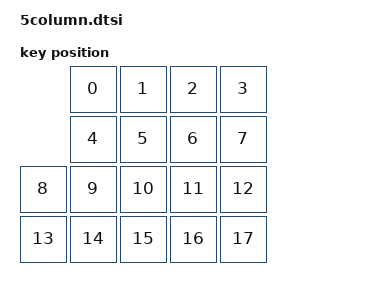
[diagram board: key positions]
#include <layouts/dumbpad/position_map.dtsi>
#include <physical_layouts.dtsi>

/ {
    dumbpad_default_transform_layout: dumbpad_default_transform_layout {
        compatible = "zmk,physical-layout";
        display-name = "Default Transform";

        keys  //                     w   h    x    y     rot    rx    ry
            = <&key_physical_attrs 100 100    0    0       0     0     0>
            , <&key_physical_attrs 100 100  100    0       0     0     0>
            , <&key_physical_attrs 100 100  200    0       0     0     0>
            , <&key_physical_attrs 100 100  300    0       0     0     0>
            , <&key_physical_attrs 100 100    0  100       0     0     0>
            , <&key_physical_attrs 100 100  100  100       0     0     0>
            , <&key_physical_attrs 100 100  200  100       0     0     0>
            , <&key_physical_attrs 100 100  300  100       0     0     0>
            , <&key_physical_attrs 100 100 -100  200       0     0     0>
            , <&key_physical_attrs 100 100    0  200       0     0     0>
            , <&key_physical_attrs 100 100  100  200       0     0     0>
            , <&key_physical_attrs 100 100  200  200       0     0     0>
            , <&key_physical_attrs 100 100  300  200       0     0     0>
            , <&key_physical_attrs 100 100 -100  300       0     0     0>
            , <&key_physical_attrs 100 100    0  300       0     0     0>
            , <&key_physical_attrs 100 100  100  300       0     0     0>
            , <&key_physical_attrs 100 100  200  300       0     0     0>
            , <&key_physical_attrs 100 100  300  300       0     0     0>
        ;
    };
};

&layouts_dumbpad_position_map {
    dumbpad_default_transform_posmap: default_transform {
        physical-layout = <&dumbpad_default_transform_layout>;
        positions
            = <    0  1  2  3>
            , <    4  5  6  7>
            , <8   9 10 11 12>
            , <13 14 15 16 17>;
    };
};

